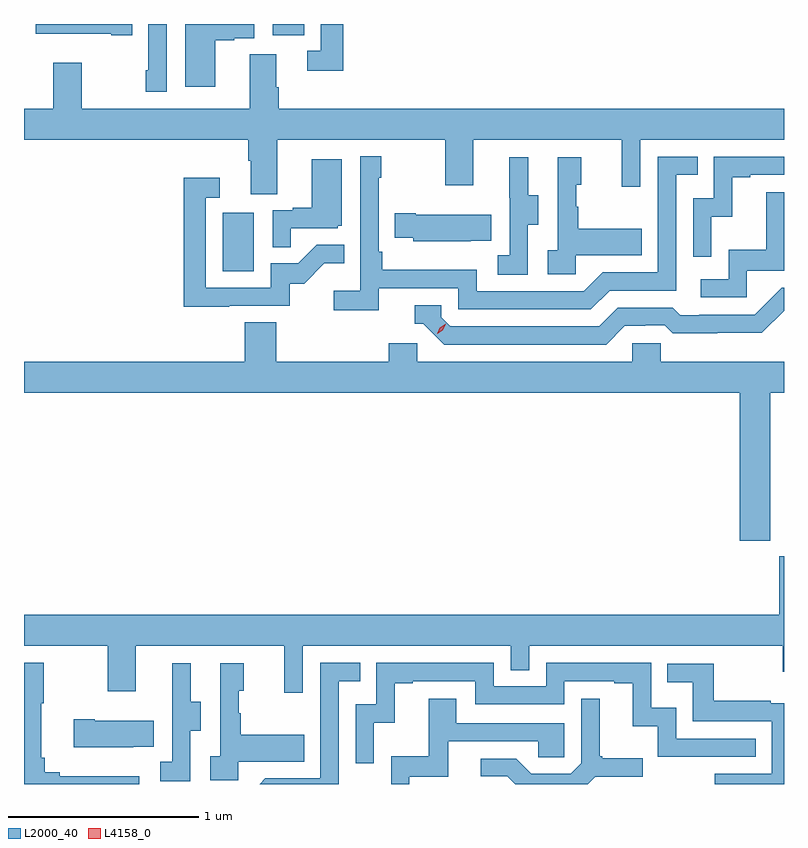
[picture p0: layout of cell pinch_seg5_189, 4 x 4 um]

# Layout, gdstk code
import gdstk
lib = gdstk.Library(unit=1e-6, precision=1e-09)
def R(c, l, rs):  # rectangles x0, y0, x1, y1
    for r in rs: c.add(gdstk.rectangle(r[:2], r[2:], *l))
def P(c, l, *ps):  # polygons
    for p in ps: c.add(gdstk.Polygon(p, *l))
L2000_40 = (2000, 40)
L4158_0 = (4158, 0)

pinch_seg5_189 = lib.new_cell('pinch_seg5_189')
R(pinch_seg5_189, L2000_40, [(1131.464,885.372,1131.628,885.679), (1131.728,886.614,1131.892,886.673)])
P(pinch_seg5_189, L2000_40, [(1132.097,886.673),(1131.981,886.673),(1131.981,886.533),(1131.909,886.533),(1131.909,886.428),(1132.097,886.428)],
  [(1131.168,886.673),(1131.072,886.673),(1131.072,886.429),(1131.06,886.429),(1131.06,886.317),(1131.168,886.317)],
  [(1131.424,886.587),(1131.524,886.587),(1131.524,886.599),(1131.63,886.599),(1131.63,886.673),(1131.266,886.673),(1131.266,886.344),(1131.424,886.344)],
  [(1130.987,886.673),(1130.479,886.673),(1130.479,886.622),(1130.876,886.622),(1130.876,886.615),(1130.987,886.615)],
  [(1131.751,886.064),(1132.636,886.064),(1132.636,885.825),(1132.783,885.825),(1132.783,886.064),(1133.564,886.064),(1133.564,885.816),(1133.661,885.816),(1133.661,886.064),(1134.418,886.064),(1134.418,886.228),(1131.758,886.228),(1131.758,886.34),(1131.745,886.34),(1131.745,886.514),(1131.605,886.514),(1131.605,886.228),(1130.721,886.228),(1130.721,886.468),(1130.573,886.468),(1130.573,886.228),(1130.418,886.228),(1130.418,886.064),(1131.599,886.064),(1131.599,885.952),(1131.611,885.952),(1131.611,885.778),(1131.751,885.778)],
  [(1132.286,885.282),(1132.704,885.282),(1132.704,885.171),(1133.401,885.171),(1133.5,885.27),(1133.85,885.27),(1133.85,885.879),(1133.963,885.879),(1133.963,885.975),(1133.754,885.975),(1133.754,885.366),(1133.463,885.366),(1133.364,885.267),(1132.8,885.267),(1132.8,885.379),(1132.304,885.379),(1132.304,885.475),(1132.284,885.475),(1132.284,885.863),(1132.297,885.863),(1132.297,885.976),(1132.188,885.976),(1132.188,885.268),(1132.047,885.268),(1132.047,885.166),(1132.286,885.166)],
  [(1134.036,885.659),(1134.146,885.659),(1134.146,885.867),(1134.241,885.867),(1134.241,885.879),(1134.418,885.879),(1134.418,885.975),(1134.048,885.975),(1134.048,885.756),(1133.94,885.756),(1133.94,885.447),(1134.036,885.447)],
  [(1133.322,885.455),(1133.669,885.455),(1133.669,885.595),(1133.335,885.595),(1133.335,885.71),(1133.325,885.71),(1133.325,885.828),(1133.35,885.828),(1133.35,885.973),(1133.226,885.973),(1133.226,885.482),(1133.175,885.482),(1133.175,885.357),(1133.322,885.357)],
  [(1133.07,885.616),(1133.125,885.616),(1133.125,885.771),(1133.071,885.771),(1133.071,885.973),(1132.973,885.973),(1132.973,885.759),(1132.974,885.759),(1132.974,885.455),(1132.911,885.455),(1132.911,885.352),(1133.07,885.352)],
  [(1131.821,885.597),(1132.068,885.597),(1132.068,885.612),(1132.09,885.612),(1132.09,885.961),(1131.932,885.961),(1131.932,885.706),(1131.833,885.706),(1131.833,885.693),(1131.726,885.693),(1131.726,885.499),(1131.821,885.499)],
  [(1131.497,885.189),(1131.816,885.189),(1131.816,885.306),(1131.892,885.306),(1131.999,885.413),(1132.103,885.413),(1132.103,885.512),(1131.959,885.512),(1131.861,885.414),(1131.717,885.414),(1131.717,885.285),(1131.375,885.285),(1131.375,885.759),(1131.448,885.759),(1131.448,885.865),(1131.259,885.865),(1131.259,885.184),(1131.497,885.184)],
  [(1134.222,885.375),(1134.418,885.375),(1134.418,885.787),(1134.325,885.787),(1134.325,885.484),(1134.126,885.484),(1134.126,885.33),(1133.979,885.33),(1133.979,885.234),(1134.222,885.234)],
  [(1132.769,885.533),(1132.877,885.533),(1132.877,885.67),(1132.48,885.67),(1132.48,885.678),(1132.369,885.678),(1132.369,885.548),(1132.467,885.548),(1132.467,885.53),(1132.769,885.53)],
  [(1133.581,885.084),(1133.688,885.084),(1133.688,885.087),(1133.791,885.087),(1133.833,885.045),(1134.066,885.045),(1134.066,885.047),(1134.302,885.047),(1134.418,885.163),(1134.418,885.285),(1134.405,885.285),(1134.264,885.144),(1133.971,885.144),(1133.971,885.141),(1133.872,885.141),(1133.833,885.18),(1133.544,885.18),(1133.445,885.081),(1132.662,885.081),(1132.614,885.129),(1132.614,885.192),(1132.475,885.192),(1132.475,885.096),(1132.518,885.096),(1132.629,884.985),(1133.482,884.985)],
  [(1134.345,884.732),(1134.418,884.732),(1134.418,884.896),(1133.769,884.896),(1133.769,884.994),(1133.619,884.994),(1133.619,884.896),(1132.488,884.896),(1132.488,884.994),(1132.337,884.994),(1132.337,884.896),(1131.746,884.896),(1131.746,885.104),(1131.581,885.104),(1131.581,884.896),(1130.418,884.896),(1130.418,884.732),(1134.185,884.732),(1134.185,883.953),(1134.345,883.953)],
  [(1131.885,883.4),(1132.98,883.4),(1132.98,883.273),(1133.076,883.273),(1133.076,883.4),(1134.412,883.4),(1134.412,883.265),(1134.418,883.265),(1134.418,883.873),(1134.392,883.873),(1134.392,883.564),(1130.418,883.564),(1130.418,883.4),(1130.86,883.4),(1130.86,883.161),(1131.007,883.161),(1131.007,883.4),(1131.788,883.4),(1131.788,883.152),(1131.885,883.152)],
  [(1131.024,882.715),(1130.605,882.715),(1130.605,882.734),(1130.528,882.734),(1130.528,882.811),(1130.509,882.811),(1130.509,883.099),(1130.521,883.099),(1130.521,883.312),(1130.418,883.312),(1130.418,882.673),(1131.024,882.673)],
  [(1132.074,883.215),(1132.187,883.215),(1132.187,883.311),(1131.978,883.311),(1131.978,882.702),(1131.687,882.702),(1131.658,882.673),(1132.074,882.673)],
  [(1132.26,882.995),(1132.37,882.995),(1132.37,883.203),(1132.465,883.203),(1132.465,883.215),(1132.794,883.215),(1132.794,883.092),(1133.262,883.092),(1133.262,883.215),(1133.525,883.215),(1133.525,883.203),(1133.621,883.203),(1133.621,882.977),(1133.754,882.977),(1133.754,882.816),(1134.269,882.816),(1134.269,882.912),(1133.85,882.912),(1133.85,883.075),(1133.718,883.075),(1133.718,883.311),(1133.166,883.311),(1133.166,883.188),(1132.89,883.188),(1132.89,883.311),(1132.272,883.311),(1132.272,883.092),(1132.164,883.092),(1132.164,882.783),(1132.26,882.783)],
  [(1131.546,882.791),(1131.893,882.791),(1131.893,882.931),(1131.559,882.931),(1131.559,883.046),(1131.549,883.046),(1131.549,883.164),(1131.574,883.164),(1131.574,883.309),(1131.45,883.309),(1131.45,882.818),(1131.399,882.818),(1131.399,882.693),(1131.546,882.693)],
  [(1131.294,882.952),(1131.349,882.952),(1131.349,883.107),(1131.295,883.107),(1131.295,883.309),(1131.197,883.309),(1131.197,883.095),(1131.198,883.095),(1131.198,882.791),(1131.135,882.791),(1131.135,882.688),(1131.294,882.688)],
  [(1134.418,883.099),(1134.347,883.099),(1134.347,883.111),(1134.049,883.111),(1134.049,883.305),(1133.803,883.305),(1133.803,883.208),(1133.938,883.208),(1133.938,883.002),(1134.354,883.002),(1134.354,882.726),(1134.053,882.726),(1134.053,882.673),(1134.418,882.673)],
  [(1133.424,882.711),(1133.674,882.711),(1133.674,882.808),(1133.461,882.808),(1133.461,882.82),(1133.449,882.82),(1133.449,883.123),(1133.352,883.123),(1133.352,882.783),(1133.295,882.726),(1133.089,882.726),(1133.008,882.807),(1132.821,882.807),(1132.821,882.714),(1132.962,882.714),(1133.003,882.673),(1133.386,882.673)],
  [(1132.446,882.711),(1132.651,882.711),(1132.651,882.897),(1133.125,882.897),(1133.125,882.813),(1133.262,882.813),(1133.262,882.993),(1132.693,882.993),(1132.693,883.123),(1132.549,883.123),(1132.549,882.82),(1132.35,882.82),(1132.35,882.673),(1132.446,882.673)],
  [(1130.993,882.869),(1131.101,882.869),(1131.101,883.006),(1130.791,883.006),(1130.791,883.014),(1130.679,883.014),(1130.679,882.866),(1130.993,882.866)])
P(pinch_seg5_189, L4158_0, [(1132.592,885.042),(1132.592,885.042),(1132.607,885.075),(1132.638,885.095),(1132.638,885.095),(1132.638,885.095),(1132.623,885.062),(1132.592,885.042)])

lib.write_gds('pinch_seg5_189.gds')
